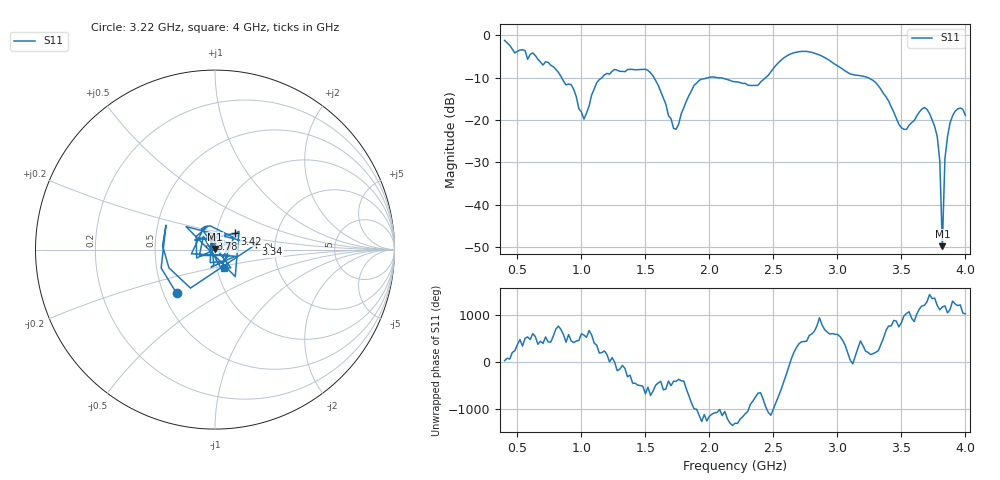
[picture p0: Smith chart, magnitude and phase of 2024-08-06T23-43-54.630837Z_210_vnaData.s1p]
!Created with skrf (http://scikit-rf.org).
# Hz S RI R 50.0
!freq ReS11 ImS11
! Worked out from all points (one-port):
!   181 points, 400 MHz to 4 GHz, reference 50 ohm
!   lowest |S11| = -49.8 dB at 3.82 GHz (marker M1), VSWR 1.01, Z = 50.1 + j0.318 ohm
!   |S11| at or under -10 dB: 1.568 GHz to 1.989 GHz (420.9 MHz wide, 23.7 % of centre); 2.065 GHz to 2.439 GHz (373.5 MHz wide, 16.6 % of centre); 3.241 GHz to end of sweep (the widest 3 of 4)
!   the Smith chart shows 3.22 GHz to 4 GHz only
!   S11 on the Smith chart (normalised r, x): 3.22 GHz: 0.58, -0.32; 3.34 GHz: 1.59, +0.10; 3.42 GHz: 1.23, +0.23; 3.78 GHz: 0.95, +0.11; 4 GHz: 1.08, -0.22
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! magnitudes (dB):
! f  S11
! 400 MHz  -1.2
! 860 MHz  -10.8
! 940 MHz  -12.7
! 1.02 GHz  -19.8
! 1.12 GHz  -11.2
! 1.3 GHz  -8.5
! 1.52 GHz  -8.3
! 1.6 GHz  -11.8
! 1.72 GHz  -22.0
! 1.76 GHz  -20.9
! 1.92 GHz  -10.6
! 2.2 GHz  -11.0
! 2.38 GHz  -11.8
! 2.66 GHz  -4.1
! 3.1 GHz  -9.1
! 3.22 GHz  -9.8
! 3.34 GHz  -12.7
! 3.42 GHz  -16.9
! 3.5 GHz  -21.8
! 3.56 GHz  -21.2
! 3.68 GHz  -17.0
! 3.78 GHz  -23.9
! 3.8 GHz  -29.7
! 3.82 GHz  -49.8
! 3.84 GHz  -29.2
! 3.86 GHz  -24.0
! 3.92 GHz  -17.9
! 4 GHz  -18.9
